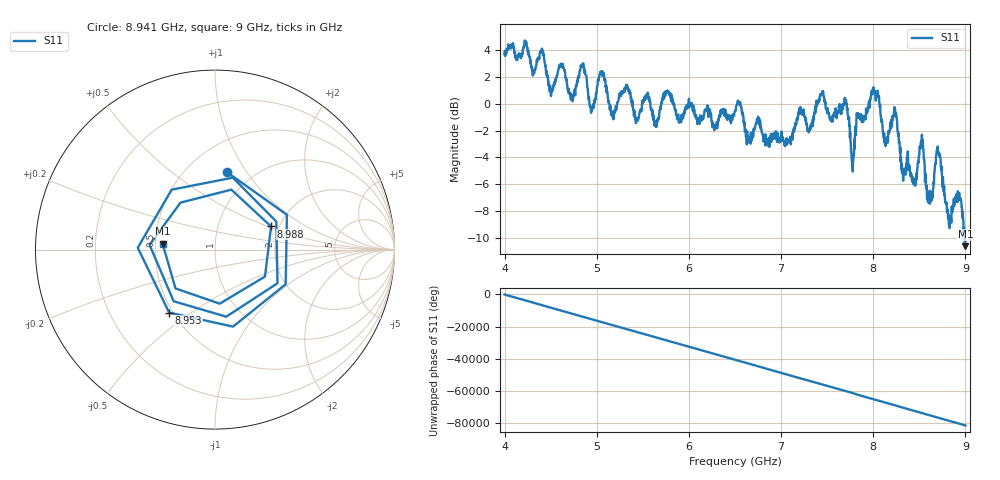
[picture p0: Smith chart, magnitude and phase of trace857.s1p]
! Created with skrf 1.8.0 (http://scikit-rf.org).
# Hz S RI R 50.0
!freq ReS11 ImS11
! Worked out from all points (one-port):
!   1601 points, 4 GHz to 9 GHz, reference 50 ohm
!   lowest |S11| = -10.6 dB at 9 GHz (marker M1), VSWR 1.83, Z = 27.3 + j2.01 ohm
!   |S11| at or under -10 dB: 8.99105 GHz to end of sweep
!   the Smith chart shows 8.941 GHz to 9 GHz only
!   S11 on the Smith chart (normalised r, x): 8.941 GHz: 0.76, +0.82; 8.953 GHz: 0.48, -0.41; 8.988 GHz: 1.81, +0.53; 9 GHz: 0.55, +0.04
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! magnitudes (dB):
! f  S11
! 4 GHz  3.7
! 4.406 GHz  4.1
! 4.503 GHz  0.6
! 4.625 GHz  2.7
! 4.731 GHz  0.3
! 4.85 GHz  2.8
! 4.944 GHz  -0.5
! 5.053 GHz  2.4
! 5.162 GHz  -0.6
! 5.25 GHz  0.8
! 5.875 GHz  -1.0
! 6.5 GHz  -0.6
! 7.125 GHz  -2.6
! 7.444 GHz  0.7
! 7.697 GHz  0.2
! 7.75 GHz  -2.1
! 8 GHz  1.0
! 8.234 GHz  -0.5
! 8.375 GHz  -3.6
! 8.447 GHz  -5.8
! 8.528 GHz  -2.3
! 8.609 GHz  -6.9
! 8.706 GHz  -3.7
! 8.822 GHz  -9.1
! 8.941 GHz  -7.2
! 8.953 GHz  -7.2
! 8.988 GHz  -9.4
! 9 GHz  -10.6
